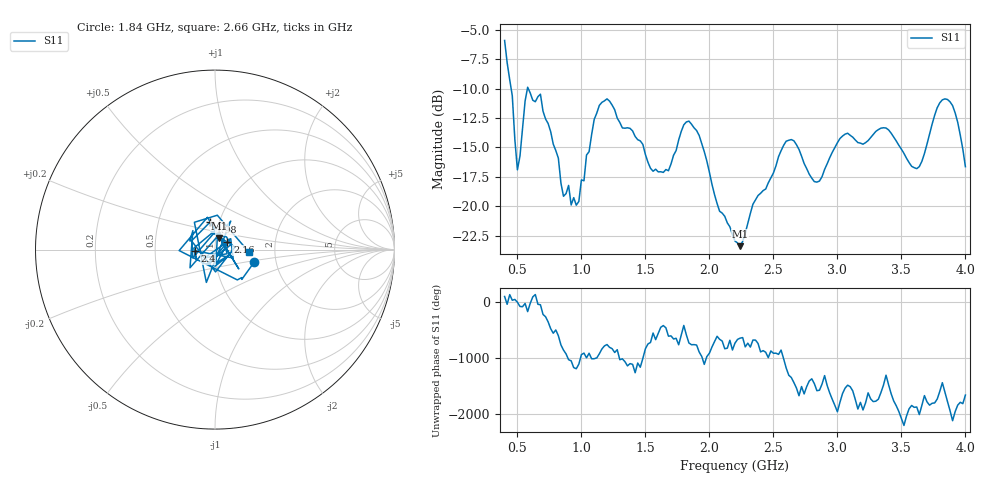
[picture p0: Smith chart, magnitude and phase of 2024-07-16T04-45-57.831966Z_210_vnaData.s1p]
!Created with skrf (http://scikit-rf.org).
# Hz S RI R 50.0
!freq ReS11 ImS11
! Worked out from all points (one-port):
!   181 points, 400 MHz to 4 GHz, reference 50 ohm
!   lowest |S11| = -23.4 dB at 2.24 GHz (marker M1), VSWR 1.15, Z = 52 + j6.63 ohm
!   |S11| at or under -10 dB: 451 MHz to 578.1 MHz (127.1 MHz wide, 24.7 % of centre); 584.6 MHz to end of sweep
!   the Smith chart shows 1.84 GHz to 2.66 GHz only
!   S11 on the Smith chart (normalised r, x): 1.84 GHz: 1.54, -0.22; 1.98 GHz: 0.90, +0.28; 2.16 GHz: 1.14, +0.10; 2.4 GHz: 0.80, -0.01; 2.66 GHz: 1.47, -0.04
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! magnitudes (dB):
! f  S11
! 400 MHz  -5.9
! 460 MHz  -10.6
! 500 MHz  -16.9
! 580 MHz  -9.9
! 680 MHz  -10.5
! 820 MHz  -15.9
! 860 MHz  -19.1
! 980 MHz  -19.6
! 1.14 GHz  -11.4
! 1.3 GHz  -12.9
! 1.56 GHz  -17.0
! 1.68 GHz  -17.0
! 1.76 GHz  -14.4
! 1.84 GHz  -12.8
! 1.98 GHz  -16.2
! 2.16 GHz  -21.7
! 2.2 GHz  -23.0
! 2.24 GHz  -23.4
! 2.4 GHz  -18.9
! 2.66 GHz  -14.4
! 2.84 GHz  -17.9
! 3.1 GHz  -14.0
! 3.38 GHz  -13.4
! 3.56 GHz  -16.3
! 3.64 GHz  -16.6
! 3.84 GHz  -10.9
! 3.92 GHz  -12.1
! 4 GHz  -16.6
